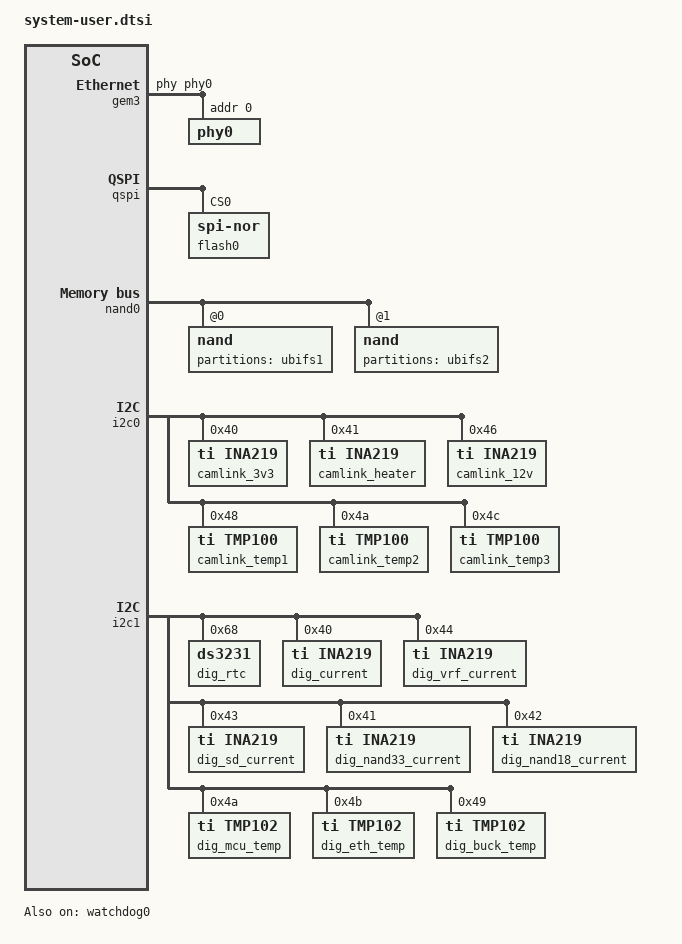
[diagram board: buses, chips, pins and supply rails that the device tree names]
/include/ "system-conf.dtsi"
/ {
};

/* default */

/* SD */

&sdhci1 {
    disable-wp;
    no-1-8-v;
};

/* ETH PHY */

&gem3 {
    phy-handle = <&phy0>;
    phy0: phy0@0 {
        device_type = "ethernet-phy";
        reg = <0>;
    };
};

/* QSPI */

&qspi {
    #address-cells = <1>;
    #size-cells = <0>;
    status = "okay";
    flash0: flash@0 {
        compatible = "jedec,spi-nor";
        reg = <0x0>;
        #address-cells = <1>;
        #size-cells = <1>;
    };
};

/* NAND */

&nand0 {
    status = "okay";
    arasan,has-mdma;
    nand@0 {
        reg = <0x0>;
        #address-cells = <0x2>;
        #size-cells = <0x2>;
        partition@0 {
            /* Whole chip dedicated to ubifs */
            label = "ubifs1";
            reg = <0x0 0x00000000 0x1 0x00000000>;
        };
    };
    nand@1 {
        reg = <0x1>;
        #address-cells = <0x2>;
        #size-cells = <0x2>;
        partition@ {
            /* Whole chip dedicated to ubifs */
            label = "ubifs2";
            reg = <0x0 0x00000000 0x1 0x00000000>;
        };
    };
};

/* UNUSED DMA disable */

&lpd_dma_chan1 {
    status = "disabled";
};
&lpd_dma_chan2 {
    status = "disabled";
};
&lpd_dma_chan3 {
    status = "disabled";
};
&lpd_dma_chan4 {
    status = "disabled";
};
&lpd_dma_chan5 {
    status = "disabled";
};
&lpd_dma_chan6 {
    status = "disabled";
};
&lpd_dma_chan7 {
    status = "disabled";
};
&lpd_dma_chan8 {
    status = "disabled";
};

/* Enable WDT (Watch Dog Timer) */
&watchdog0 {
    status = "okay";
    reset-on-timeout;
};

&i2c0 {
    /* CAMLINK I2C devices */
    camlink_3v3: ina219@40 {
        compatible = "ti,ina219";
        reg = <0x40>;
        shunt-resistor = <10000>;
    };
    camlink_heater: ina219@41 {
        compatible = "ti,ina219";
        reg = <0x41>;
        shunt-resistor = <10000>;
    };
    camlink_12v: ina219@46 {
        compatible = "ti,ina219";
        reg = <0x46>;
        shunt-resistor = <10000>;
    };
    camlink_temp1: tmp100@48 {
        compatible = "ti,tmp100";
        reg = <0x48>;
    };
    camlink_temp2: tmp100@4a {
        compatible = "ti,tmp100";
        reg = <0x4a>;
    };
    camlink_temp3: tmp100@4c {
        compatible = "ti,tmp100";
        reg = <0x4c>;
    };
};

&i2c1 {
    /* MARSUPIAL I2C devices */
    dig_rtc: rtc@68 {
        compatible = "ds3231";
        reg = <0x68>;
    };
    dig_current: ina219@40 {
        compatible = "ti,ina219";
        reg = <0x40>;
        shunt-resistor = <10000>;
    };
    dig_vrf_current: ina219@44 {
        compatible = "ti,ina219";
        reg = <0x44>;
        shunt-resistor = <10000>;
    };
    dig_sd_current: ina219@43 {
        compatible = "ti,ina219";
        reg = <0x43>;
        shunt-resistor = <50000>;
    };
    dig_nand33_current: ina219@41 {
        compatible = "ti,ina219";
        reg = <0x41>;
        shunt-resistor = <50000>;
    };
    dig_nand18_current: ina219@42 {
        compatible = "ti,ina219";
        reg = <0x42>;
        shunt-resistor = <50000>;
    };
    dig_mcu_temp: tmp102@4a {
        compatible = "ti,tmp102";
        reg = <0x4a>;
    };
    dig_eth_temp: tmp102@4b {
        compatible = "ti,tmp102";
        reg = <0x4b>;
    };
    dig_buck_temp: tmp102@49 {
        compatible = "ti,tmp102";
        reg = <0x49>;
    };
};
